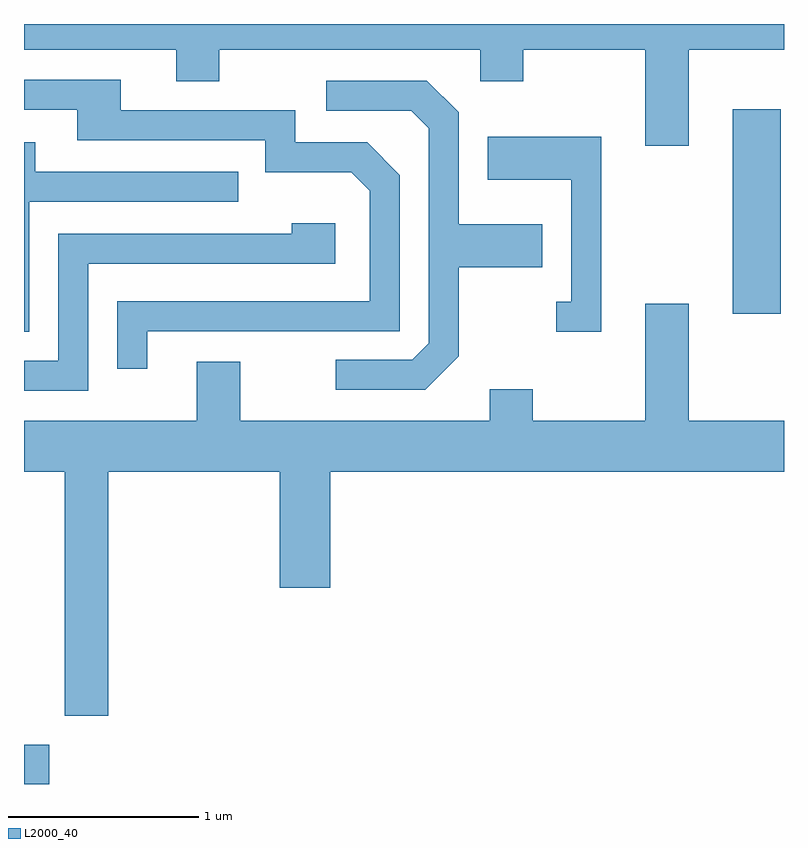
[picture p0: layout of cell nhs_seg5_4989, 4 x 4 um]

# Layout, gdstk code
import gdstk
lib = gdstk.Library(unit=1e-6, precision=1e-09)
def R(c, l, rs):  # rectangles x0, y0, x1, y1
    for r in rs: c.add(gdstk.rectangle(r[:2], r[2:], *l))
def P(c, l, *ps):  # polygons
    for p in ps: c.add(gdstk.Polygon(p, *l))
L2000_40 = (2000, 40)

nhs_seg5_4989 = lib.new_cell('nhs_seg5_4989')
R(nhs_seg5_4989, L2000_40, [(333.611,1424.072,333.744,1424.279), (337.341,1426.546,337.594,1427.624)])
P(nhs_seg5_4989, L2000_40, [(337.109,1427.936),(337.611,1427.936),(337.611,1428.072),(333.611,1428.072),(333.611,1427.936),(334.411,1427.936),(334.411,1427.771),(334.639,1427.771),(334.639,1427.936),(336.011,1427.936),(336.011,1427.771),(336.239,1427.771),(336.239,1427.936),(336.881,1427.936),(336.881,1427.431),(337.109,1427.431)],
  [(334.259,1426.456),(335.589,1426.456),(335.589,1427.277),(335.417,1427.449),(335.039,1427.449),(335.039,1427.619),(334.119,1427.619),(334.119,1427.779),(333.611,1427.779),(333.611,1427.621),(333.891,1427.621),(333.891,1427.461),(334.881,1427.461),(334.881,1427.291),(335.334,1427.291),(335.431,1427.194),(335.431,1426.614),(334.101,1426.614),(334.101,1426.258),(334.259,1426.258)],
  [(335.899,1426.324),(335.899,1426.791),(336.339,1426.791),(336.339,1427.019),(335.899,1427.019),(335.899,1427.607),(335.732,1427.774),(335.203,1427.774),(335.203,1427.616),(335.649,1427.616),(335.741,1427.524),(335.741,1426.392),(335.654,1426.304),(335.253,1426.304),(335.253,1426.146),(335.722,1426.146)],
  [(336.649,1427.479),(336.051,1427.479),(336.051,1427.251),(336.491,1427.251),(336.491,1426.609),(336.413,1426.609),(336.413,1426.451),(336.649,1426.451)],
  [(333.639,1427.136),(334.738,1427.136),(334.738,1427.294),(333.669,1427.294),(333.669,1427.449),(333.611,1427.449),(333.611,1426.451),(333.639,1426.451)],
  [(333.949,1426.811),(335.249,1426.811),(335.249,1427.024),(335.021,1427.024),(335.021,1426.969),(333.791,1426.969),(333.791,1426.299),(333.611,1426.299),(333.611,1426.141),(333.949,1426.141)],
  [(334.054,1425.716),(334.956,1425.716),(334.956,1425.106),(335.224,1425.106),(335.224,1425.716),(337.611,1425.716),(337.611,1425.984),(337.109,1425.984),(337.109,1426.599),(336.881,1426.599),(336.881,1425.984),(336.289,1425.984),(336.289,1426.149),(336.061,1426.149),(336.061,1425.984),(334.749,1425.984),(334.749,1426.294),(334.521,1426.294),(334.521,1425.984),(333.611,1425.984),(333.611,1425.716),(333.826,1425.716),(333.826,1424.431),(334.054,1424.431)])

lib.write_gds('nhs_seg5_4989.gds')
